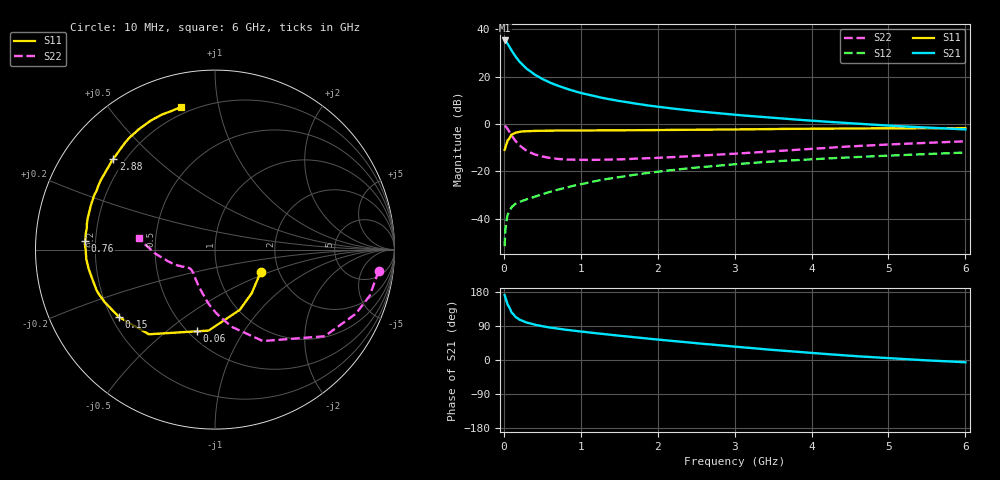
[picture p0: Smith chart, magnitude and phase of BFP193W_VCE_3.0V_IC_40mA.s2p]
! Infineon Technologies  Discrete & RF Semiconductors
! BFP193W
! VCE = 3.0 V,  IC =  40 mA
! Common Emitter S-Parameters:  Jan 2016
# GHz  S  MA  R  50
!  f  S11  S21  S12  S22
! GHz  MAG  ANG  MAG  ANG  MAG  ANG  MAG  ANG
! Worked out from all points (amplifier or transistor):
!   210 points, 10 MHz to 6 GHz, reference 50 ohm
!   highest |S21| = 35.3 dB at 10 MHz (marker M1)
!   |S21| within 3 dB of that: start of sweep to 77.8 MHz
!   unconditionally stable (mu >= 1): 675.5 MHz to 3.998 GHz
!   at 185 MHz: K = 0.50, MSG = 30.2 dB, |S12| = -33.3 dB
!   at 1.52 GHz: K = 1.13, MAG = 13.8 dB, |S12| = -22.3 dB
!   at 6 GHz: K = 0.94, MSG = 4.9 dB, |S12| = -12.1 dB
!   S11 on the Smith chart (normalised r, x): 10 MHz: 1.61, -0.44; 60 MHz: 0.55, -0.64; 150 MHz: 0.23, -0.30; 760 MHz: 0.16, +0.03; 2.88 GHz: 0.16, +0.37; 6 GHz: 0.16, +0.77
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0.01  0.2836 -26.4  58.24 171.6  0.0026 86.8  0.9194 -7.4
0.02  0.3175 -49.8  57.06 165.0  0.0056 74.9  0.8996 -16.6
0.03  0.3631 -67.7  55.11 158.0  0.008 72.1  0.8627 -24.4
0.05  0.4526 -94.5  49.38 145.8  0.012 61.9  0.7788 -38.3
0.06  0.4666 -102.6  46.3 142.7  0.013 58.5  0.7295 -42.0
0.1  0.5986 -128.0  35.89 125.6  0.0174 49.2  0.5749 -62.4
0.15  0.6533 -144.9  26.81 113.9  0.0204 44.2  0.4397 -77.9
0.2  0.6803 -154.4  21.02 106.9  0.0222 44.6  0.3576 -88.4
0.24  0.6933 -159.1  18.01 103.2  0.0236 44.6  0.3164 -94.6
0.3  0.7009 -165.0  14.52 98.6  0.0256 46.2  0.2683 -102.9
0.4  0.7121 -171.3  11.06 93.1  0.0288 49.4  0.2272 -112.8
0.5  0.7191 -175.8  8.929 89.0  0.0326 52.1  0.2049 -120.2
0.6  0.7196 -179.4  7.463 85.6  0.0366 54.5  0.1906 -126.0
0.76  0.7248 176.0  5.964 81.2  0.043 57.5  0.1788 -132.0
1.02  0.7247 170.1  4.443 74.8  0.0541 59.9  0.174 -138.9
1.4  0.732 162.7  3.266 66.2  0.0711 61.0  0.1773 -144.2
2.02  0.7404 151.7  2.29 53.6  0.0985 59.2  0.1929 -149.2
2.88  0.7592 138.2  1.627 37.5  0.1354 53.8  0.2291 -157.8
3.1  0.7653 134.8  1.515 33.6  0.1445 52.2  0.2403 -160.3
4.1  0.7949 121.1  1.142 17.0  0.1826 44.8  0.3042 -172.2
5.1  0.8083 110.7  0.903 3.7  0.217 37.9  0.3738 177.7
6  0.8161 103.6  0.766 -6.0  0.2484 32.3  0.4288 171.7
